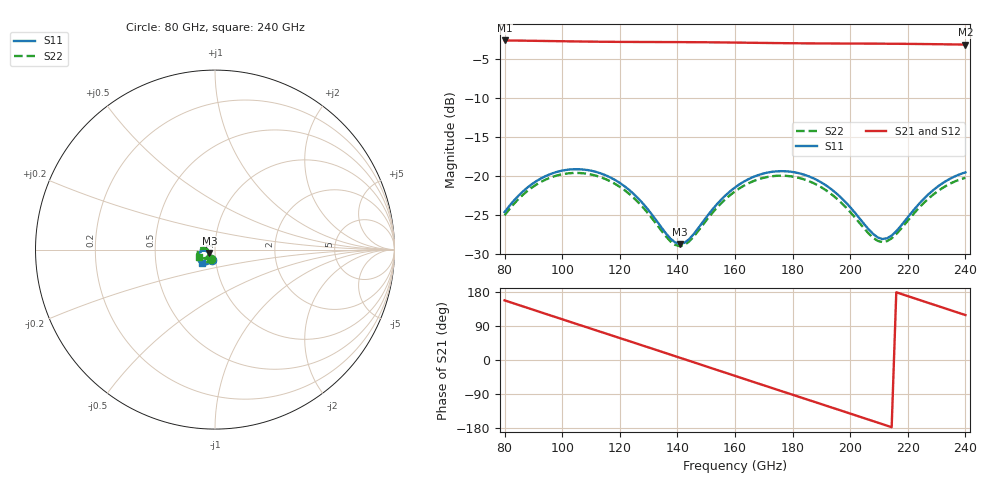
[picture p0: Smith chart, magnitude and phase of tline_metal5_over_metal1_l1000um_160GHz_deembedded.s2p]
! Created with skrf 2.0.1 (http://scikit-rf.org).
# GHz S DB R 50.0
!freq dBS11 angS11 dBS21 angS21 dBS12 angS12 dBS22 angS22
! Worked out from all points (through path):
!   101 points, 80 GHz to 240 GHz, reference 50 ohm
!   highest |S21| = -2.56 dB at 80 GHz (marker M1); lowest = -3.1 dB at 240 GHz (marker M2)
!   group delay of S21, straight-line fit = 6.92 ps
!   lowest |S11| = -28.7 dB at 140.8 GHz (marker M3), VSWR 1.08, Z = 47 - j1.83 ohm
!   |S11| at or under -10 dB: start of sweep to end of sweep
!   |S22| runs from -29.0 to -19.6 dB; largest |S21 - S12| = 8.4e-14
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80  -24.65 -108.5  -2.56 157.4  -2.56 157.4  -25.06 -113.3
86.4  -21.97 -112.3  -2.59 141.4  -2.59 141.4  -22.41 -117.8
94.4  -19.99 -124.3  -2.63 121.4  -2.63 121.4  -20.44 -130.5
100.8  -19.26 -135.7  -2.67 105.5  -2.67 105.5  -19.73 -142.5
107.2  -19.17 -147.5  -2.70 89.6  -2.70 89.6  -19.65 -154.8
120  -20.90 -168.7  -2.75 57.9  -2.75 57.9  -21.40 -176.9
126.4  -22.89 -175.5  -2.76 42.0  -2.76 42.0  -23.39 176.0
134.4  -26.60 -171.9  -2.77 22.1  -2.77 22.1  -27.02 179.2
140.8  -28.75 -147.9  -2.78 6.1  -2.78 6.1  -29.03 -157.9
144  -28.16 -133.0  -2.78 -1.9  -2.78 -1.9  -28.45 -144.0
150.4  -25.14 -118.7  -2.80 -17.9  -2.80 -17.9  -25.54 -130.8
160  -21.48 -122.9  -2.84 -41.9  -2.84 -41.9  -21.98 -135.8
168  -19.90 -134.0  -2.87 -61.8  -2.87 -61.8  -20.44 -147.5
174.4  -19.41 -144.3  -2.90 -77.8  -2.90 -77.8  -19.98 -158.2
180.8  -19.54 -154.6  -2.92 -93.7  -2.92 -93.7  -20.13 -169.1
187.2  -20.29 -164.3  -2.94 -109.5  -2.94 -109.5  -20.91 -179.1
193.6  -21.75 -171.9  -2.95 -125.4  -2.95 -125.4  -22.38 172.9
201.6  -24.71 -174.1  -2.96 -145.4  -2.96 -145.4  -25.32 170.4
209.6  -27.92 -155.1  -2.98 -165.4  -2.98 -165.4  -28.36 -171.1
214.4  -27.67 -134.3  -2.99 -177.4  -2.99 -177.4  -28.02 -151.8
227.2  -22.35 -119.2  -3.03 150.6  -3.03 150.6  -22.90 -139.4
240  -19.54 -134.0  -3.09 118.7  -3.09 118.7  -20.23 -155.8
